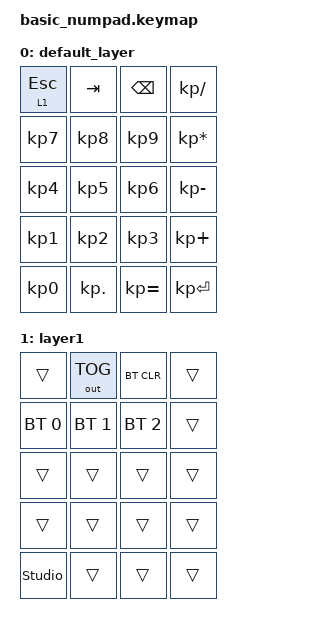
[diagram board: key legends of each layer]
#include <behaviors.dtsi>
#include <dt-bindings/zmk/keys.h>
#include <dt-bindings/zmk/bt.h>
#include <dt-bindings/zmk/outputs.h>

/ {
    keymap {
        compatible = "zmk,keymap";

        default_layer {
            //     Esc/L1   Tab      BkSp     /
            //     7        8        9        *
            //     4        5        6        -
            //     1        2        3        +
            //     0        .        =        Enter
            bindings = <
                &lt 1 ESC  &kp TAB    &kp BSPC   &kp KP_SLASH
                &kp KP_N7  &kp KP_N8  &kp KP_N9  &kp KP_MULTIPLY
                &kp KP_N4  &kp KP_N5  &kp KP_N6  &kp KP_MINUS
                &kp KP_N1  &kp KP_N2  &kp KP_N3  &kp KP_PLUS
                &kp KP_N0  &kp KP_DOT &kp KP_EQUAL &kp KP_ENTER
            >;
        };

        layer1 {
            //     (held)   OUT_TOG  BT_CLR   trans
            //     BT_SEL0  BT_SEL1  BT_SEL2  trans
            //     trans    trans    trans    trans
            //     trans    trans    trans    trans
            //     unlock   trans    trans    trans
            bindings = <
                &trans        &out OUT_TOG  &bt BT_CLR    &trans
                &bt BT_SEL 0  &bt BT_SEL 1  &bt BT_SEL 2  &trans
                &trans        &trans        &trans        &trans
                &trans        &trans        &trans        &trans
                &studio_unlock &trans       &trans        &trans
            >;
        };
    };
};
